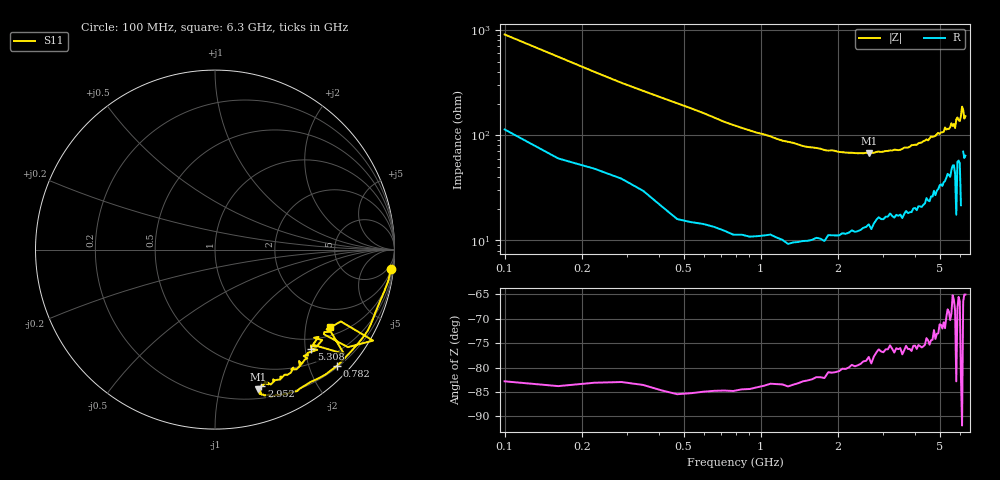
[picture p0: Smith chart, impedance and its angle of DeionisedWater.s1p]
! Created with skrf 2.1.0 (http://scikit-rf.org).
# Hz S RI R 50.0
!freq ReS11 ImS11
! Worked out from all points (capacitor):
!   101 points, 100 MHz to 6.3 GHz, reference 50 ohm
!   read as one part to ground: C = 1.77 pF near 100 MHz
!   lowest |Z| = 67.3 ohm at 2.642 GHz (marker M1)
!   S11 on the Smith chart (normalised r, x): 100 MHz: 2, -18; 782 MHz: 0.23, -2.49; 2.952 GHz: 0.32, -1.35; 5.308 GHz: 0.79, -2.12; 6.3 GHz: 1.28, -2.75
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1e8  0.9805 -0.1075
4.1e8  0.874 -0.4015
7.82e8  0.6813 -0.6467
9.06e8  0.6179 -0.6942
1.278e9  0.4575 -0.7883
1.65e9  0.3469 -0.8073
2.456e9  0.247 -0.7976
2.642e9  0.2406 -0.7787
2.952e9  0.2588 -0.7581
3.2e9  0.2797 -0.7351
4.006e9  0.3674 -0.7069
4.75e9  0.4679 -0.6208
5.184e9  0.5163 -0.5754
5.246e9  0.5698 -0.5582
5.308e9  0.5359 -0.5511
5.432e9  0.5362 -0.5381
5.556e9  0.597 -0.5045
5.618e9  0.552 -0.4911
5.68e9  0.5766 -0.4863
5.742e9  0.5457 -0.53
5.804e9  0.7186 -0.5809
5.866e9  0.6456 -0.458
5.99e9  0.6067 -0.4714
6.052e9  0.7402 -0.5436
6.114e9  0.8808 -0.507
6.176e9  0.7011 -0.4003
6.238e9  0.6218 -0.4458
6.3e9  0.6421 -0.4317
